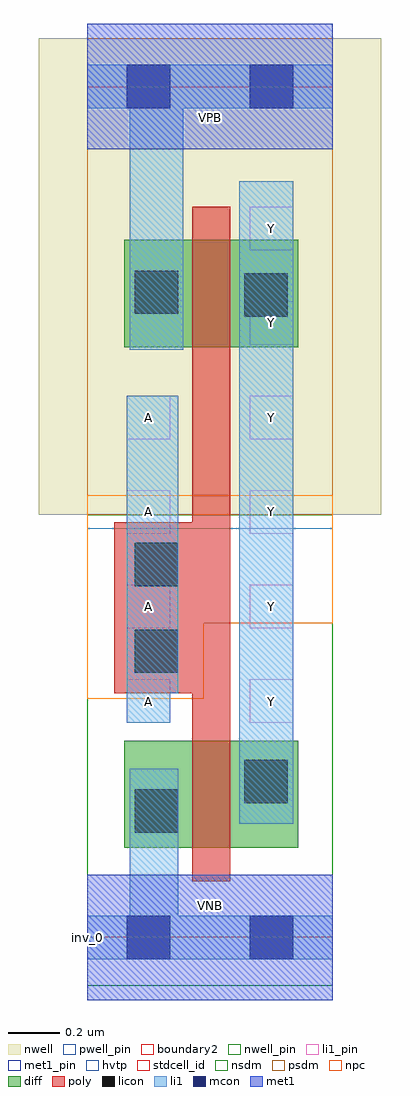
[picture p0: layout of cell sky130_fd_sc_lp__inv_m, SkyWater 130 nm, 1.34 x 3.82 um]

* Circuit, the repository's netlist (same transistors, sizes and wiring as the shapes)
* Copyright 2020 The SkyWater PDK Authors
*
* Licensed under the Apache License, Version 2.0 (the "License");
* you may not use this file except in compliance with the License.
* You may obtain a copy of the License at
*
*     https://www.apache.org/licenses/LICENSE-2.0
*
* Unless required by applicable law or agreed to in writing, software
* distributed under the License is distributed on an "AS IS" BASIS,
* WITHOUT WARRANTIES OR CONDITIONS OF ANY KIND, either express or implied.
* See the License for the specific language governing permissions and
* limitations under the License.
*
* SPDX-License-Identifier: Apache-2.0

.SUBCKT sky130_fd_sc_lp__inv_m A VGND VNB VPB VPWR Y
*.PININFO A:I VGND:I VNB:I VPB:I VPWR:I Y:O
MMIP1 Y A VPWR VPB sky130_fd_pr__pfet_01v8_hvt m=1 w=0.42U l=0.15U mult=1 sa=0.265
+ sb=0.265 sd=0.28 area=0.063 perim=1.14
MMIN1 Y A VGND VNB sky130_fd_pr__nfet_01v8 m=1 w=0.42U l=0.15U mult=1 sa=0.265
+ sb=0.265 sd=0.28 area=0.063 perim=1.14
.ENDS sky130_fd_sc_lp__inv_m

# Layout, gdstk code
import gdstk
lib = gdstk.Library(unit=1e-6, precision=1e-09)
def R(c, l, rs):  # rectangles x0, y0, x1, y1
    for r in rs: c.add(gdstk.rectangle(r[:2], r[2:], *l))
def A(c, l, x, y, w, h, nx, ny, dx, dy):  # array of equal rectangles
    R(c, l, [(x+i*dx, y+j*dy, x+i*dx+w, y+j*dy+h) for i in range(nx) for j in range(ny)])
def P(c, l, *ps):  # polygons
    for p in ps: c.add(gdstk.Polygon(p, *l))
nwell_pin = (64, 16)
nwell = (64, 20)
diff = (65, 20)
poly = (66, 20)
licon = (66, 44)
li1_pin = (67, 16)
li1 = (67, 20)
mcon = (67, 44)
met1_pin = (68, 16)
met1 = (68, 20)
hvtp = (78, 44)
stdcell_id = (81, 4)
nsdm = (93, 44)
psdm = (94, 20)
npc = (95, 20)
pwell_pin = (122, 16)
boundary2 = (236, 0)

sky130_fd_sc_lp__inv_m = lib.new_cell('sky130_fd_sc_lp__inv_m')
R(sky130_fd_sc_lp__inv_m, nwell_pin, [(0,3.085,0.96,3.33)])
R(sky130_fd_sc_lp__inv_m, nwell, [(-0.19,1.655,1.15,3.52)])
R(sky130_fd_sc_lp__inv_m, diff, [(0.145,0.35,0.825,0.77), (0.145,2.31,0.825,2.73)])
P(sky130_fd_sc_lp__inv_m, poly, [(0.56,2.86),(0.41,2.86),(0.41,1.625),(0.105,1.625),(0.105,0.955),(0.41,0.955),(0.41,0.22),(0.56,0.22)])
R(sky130_fd_sc_lp__inv_m, licon, [(0.185,0.41,0.355,0.58), (0.615,0.525,0.785,0.695), (0.185,1.035,0.355,1.205), (0.185,1.375,0.355,1.545), (0.615,2.43,0.785,2.6), (0.185,2.44,0.355,2.61)])
A(sky130_fd_sc_lp__inv_m, li1_pin, 0.155, 0.84, 0.17, 0.17, 1, 4, 0, 0.37)
A(sky130_fd_sc_lp__inv_m, li1_pin, 0.635, 0.84, 0.17, 0.17, 1, 6, 0, 0.37)
R(sky130_fd_sc_lp__inv_m, li1, [(0.595,0.445,0.805,2.96)])
P(sky130_fd_sc_lp__inv_m, li1, [(0.165,2.3),(0.165,3.245),(0,3.245),(0,3.415),(0.96,3.415),(0.96,3.245),(0.375,3.245),(0.375,2.3)],
  [(0.165,0.085),(0.165,0.66),(0.355,0.66),(0.355,0.085),(0.96,0.085),(0.96,-0.085),(0,-0.085),(0,0.085)],
  [(0.155,0.84),(0.155,2.12),(0.355,2.12),(0.355,0.955),(0.325,0.955),(0.325,0.84)])
R(sky130_fd_sc_lp__inv_m, mcon, [(0.155,-0.085,0.325,0.085), (0.635,-0.085,0.805,0.085), (0.155,3.245,0.325,3.415), (0.635,3.245,0.805,3.415)])
R(sky130_fd_sc_lp__inv_m, met1_pin, [(0,0,0.96,0.245), (0,3.085,0.96,3.33)])
R(sky130_fd_sc_lp__inv_m, met1, [(0,-0.245,0.96,0.245), (0,3.085,0.96,3.575)])
R(sky130_fd_sc_lp__inv_m, hvtp, [(0,1.6,0.96,3.33)])
R(sky130_fd_sc_lp__inv_m, stdcell_id, [(0,0,0.96,3.33)])
R(sky130_fd_sc_lp__inv_m, nsdm, [(0,-0.19,0.96,1.655)])
R(sky130_fd_sc_lp__inv_m, psdm, [(0,1.655,0.96,3.52)])
P(sky130_fd_sc_lp__inv_m, npc, [(0.96,1.73),(0,1.73),(0,0.935),(0.455,0.935),(0.455,1.23),(0.96,1.23)])
R(sky130_fd_sc_lp__inv_m, pwell_pin, [(0,0,0.96,0.245)])
R(sky130_fd_sc_lp__inv_m, boundary2, [(0,0,0.96,3.33)])
sky130_fd_sc_lp__inv_m.add(gdstk.Label('VNB', (0.48,0.123), layer=64, texttype=59))
sky130_fd_sc_lp__inv_m.add(gdstk.Label('VPB', (0.48,3.208), layer=64, texttype=5))
sky130_fd_sc_lp__inv_m.add(gdstk.Label('inv_0', (0,0), layer=83, texttype=44))
sky130_fd_sc_lp__inv_m.add(gdstk.Label('VPWR', (0.48,3.208), layer=68, texttype=5))
sky130_fd_sc_lp__inv_m.add(gdstk.Label('VGND', (0.48,0.123), layer=68, texttype=5))
sky130_fd_sc_lp__inv_m.add(gdstk.Label('A', (0.24,0.925), layer=67, texttype=5))
sky130_fd_sc_lp__inv_m.add(gdstk.Label('A', (0.24,1.295), layer=67, texttype=5))
sky130_fd_sc_lp__inv_m.add(gdstk.Label('A', (0.24,1.665), layer=67, texttype=5))
sky130_fd_sc_lp__inv_m.add(gdstk.Label('A', (0.24,2.035), layer=67, texttype=5))
sky130_fd_sc_lp__inv_m.add(gdstk.Label('Y', (0.72,0.925), layer=67, texttype=5))
sky130_fd_sc_lp__inv_m.add(gdstk.Label('Y', (0.72,1.295), layer=67, texttype=5))
sky130_fd_sc_lp__inv_m.add(gdstk.Label('Y', (0.72,1.665), layer=67, texttype=5))
sky130_fd_sc_lp__inv_m.add(gdstk.Label('Y', (0.72,2.035), layer=67, texttype=5))
sky130_fd_sc_lp__inv_m.add(gdstk.Label('Y', (0.72,2.405), layer=67, texttype=5))
sky130_fd_sc_lp__inv_m.add(gdstk.Label('Y', (0.72,2.775), layer=67, texttype=5))

lib.write_gds('sky130_fd_sc_lp__inv_m.gds')
